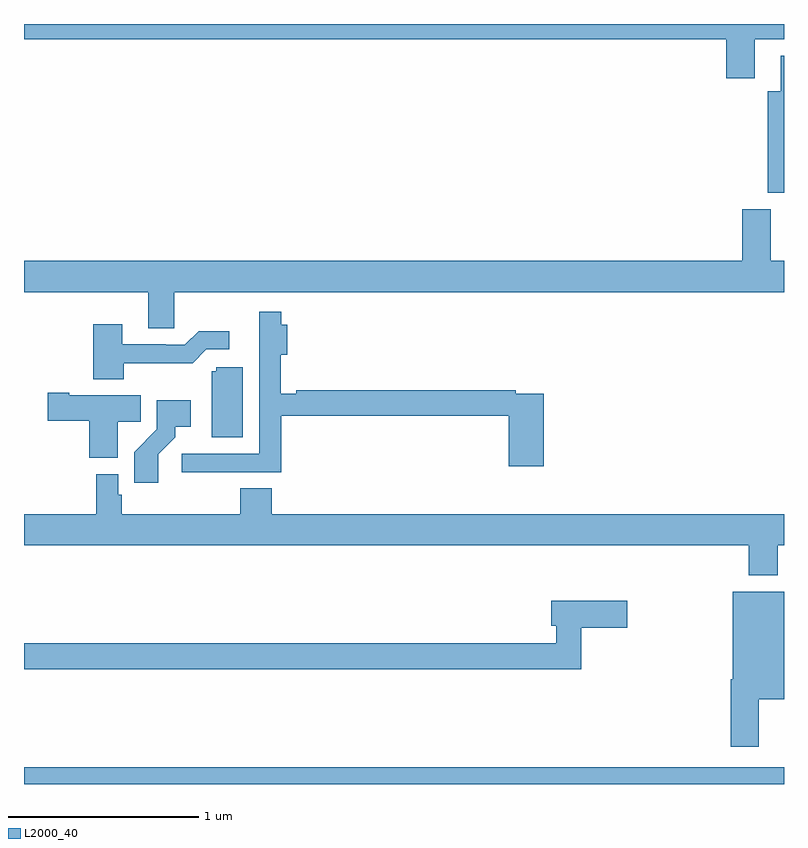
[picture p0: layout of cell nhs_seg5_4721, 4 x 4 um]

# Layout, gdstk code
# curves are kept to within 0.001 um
import gdstk
lib = gdstk.Library(unit=1e-6, precision=1e-09)
def R(c, l, rs):  # rectangles x0, y0, x1, y1
    for r in rs: c.add(gdstk.rectangle(r[:2], r[2:], *l))
def P(c, l, *ps):  # polygons
    for p in ps: c.add(gdstk.Polygon(p, *l))
L2000_40 = (2000, 40)

nhs_seg5_4721 = lib.new_cell('nhs_seg5_4721')
R(nhs_seg5_4721, L2000_40, [(387,892.799,391,892.888)])
P(nhs_seg5_4721, L2000_40, [(390.847,896.72),(391,896.72),(391,896.799),(387,896.799),(387,896.72),(390.695,896.72),(390.695,896.514),(390.847,896.514)],
  [(391,896.632),(390.983,896.632),(390.983,896.446),(390.914,896.446),(390.914,895.91),(391,895.91)],
  [(387.792,895.388),(391,895.388),(391,895.552),(390.931,895.552),(390.931,895.825),(390.779,895.825),(390.779,895.552),(387,895.552),(387,895.388),(387.653,895.388),(387.653,895.198),(387.792,895.198)],
  [(388.055,894.441),(388.355,894.441),(388.355,894.736),(389.552,894.736),(389.552,894.471),(389.735,894.471),(389.735,894.852),(389.588,894.852),(389.588,894.872),(388.432,894.872),(388.432,894.854),(388.351,894.854),(388.351,895.058),(388.385,895.058),(388.385,895.216),(388.355,895.216),(388.355,895.285),(388.238,895.285),(388.238,895.062),(388.239,895.062),(388.239,894.537),(387.831,894.537),(387.831,894.439),(388.055,894.439)],
  [(387.525,895.014),(387.887,895.013),(387.96,895.086),(388.081,895.086),(388.081,895.183),(387.919,895.183),(387.846,895.11),(387.746,895.11),(387.746,895.113),(387.517,895.113),(387.517,895.219),(387.365,895.219),(387.365,894.929),(387.525,894.929)],
  [(388.15,894.993),(388.011,894.993),(388.011,894.972),(387.989,894.972),(387.989,894.624),(388.15,894.624)],
  [(387.493,894.706),(387.614,894.706),(387.614,894.844),(387.238,894.844),(387.238,894.857),(387.126,894.857),(387.126,894.71),(387.344,894.71),(387.344,894.515),(387.493,894.515)],
  [(387.706,894.535),(387.796,894.625),(387.796,894.68),(387.877,894.68),(387.877,894.82),(387.699,894.82),(387.699,894.665),(387.58,894.546),(387.58,894.384),(387.706,894.384)],
  [(390.967,894.056),(391,894.056),(391,894.22),(388.304,894.22),(388.304,894.356),(388.139,894.356),(388.139,894.22),(387.515,894.22),(387.515,894.321),(387.495,894.321),(387.495,894.43),(387.379,894.43),(387.379,894.22),(387,894.22),(387,894.056),(390.815,894.056),(390.815,893.897),(390.967,893.897)],
  [(390.868,893.246),(391,893.246),(391,893.812),(390.731,893.812),(390.731,893.35),(390.719,893.35),(390.719,892.995),(390.868,892.995)],
  [(389.933,893.621),(390.175,893.621),(390.175,893.763),(389.774,893.763),(389.774,893.633),(389.801,893.633),(389.801,893.54),(387,893.54),(387,893.404),(389.933,893.404)])

lib.write_gds('nhs_seg5_4721.gds')
